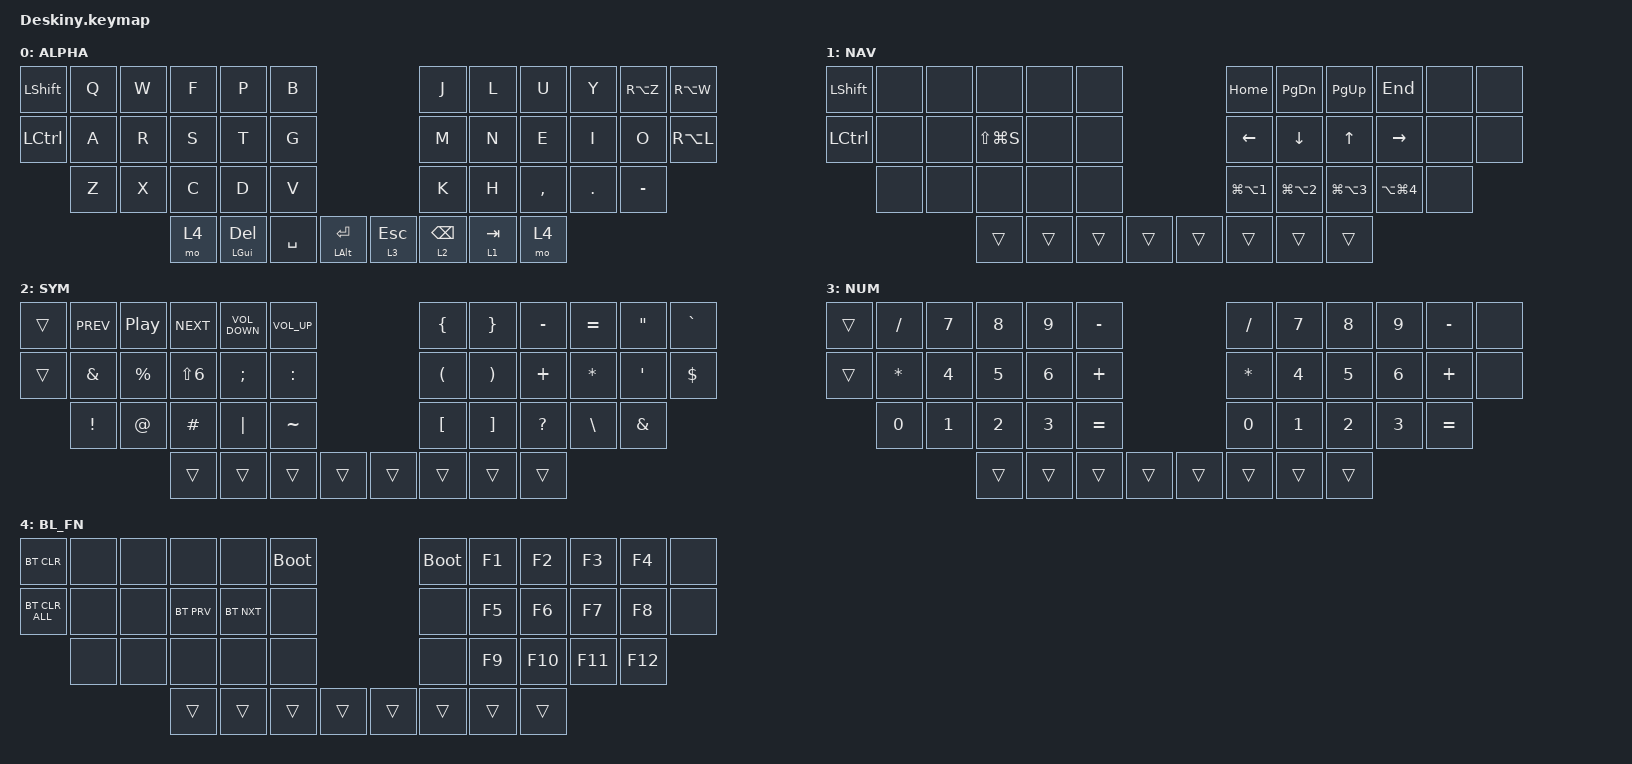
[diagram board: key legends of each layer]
#include <behaviors.dtsi>
#include <dt-bindings/zmk/bt.h>
#include <dt-bindings/zmk/keys.h>

/ {
    combos { compatible = "zmk,combos"; };

    keymap {
        compatible = "zmk,keymap";

        ALPHA {
            bindings = <
&kp LSHFT         &kp Q  &kp W  &kp F  &kp P                &kp B                                     &kp J            &kp L      &kp U      &kp Y    &kp RA(Z)  &kp RA(W)
&kp LEFT_CONTROL  &kp A  &kp R  &kp S  &kp T                &kp G                                     &kp M            &kp N      &kp E      &kp I    &kp O      &kp RA(L)
                  &kp Z  &kp X  &kp C  &kp D                &kp V                                     &kp K            &kp H      &kp COMMA  &kp DOT  &kp MINUS
                                &mo 4  &mt LEFT_GUI DELETE  &kp SPACE  &mt LEFT_ALT ENTER  &lt 3 ESC  &lt 2 BACKSPACE  &lt 1 TAB  &mo 4
            >;
        };

        NAV {
            bindings = <
&kp LSHFT  &none  &none  &none          &none   &none                   &kp HOME        &kp PAGE_DOWN         &kp PG_UP             &kp END               &none  &none
&kp LCTRL  &none  &none  &kp LS(LG(S))  &none   &none                   &kp LEFT        &kp DOWN              &kp UP                &kp RIGHT             &none  &none
           &none  &none  &none          &none   &none                   &kp LG(LA(N1))  &kp LG(LA(NUMBER_2))  &kp LG(LA(NUMBER_3))  &kp LA(LG(NUMBER_4))  &none
                         &trans         &trans  &trans  &trans  &trans  &trans          &trans                &trans
            >;
        };

        SYM {
            bindings = <
&trans  &kp C_PREV       &kp C_PLAY_PAUSE  &kp C_NEXT        &kp C_VOLUME_DOWN  &kp C_VOLUME_UP                  &kp LBRC  &kp RBRC  &kp MINUS     &kp EQUAL  &kp DOUBLE_QUOTES  &kp GRAVE
&trans  &kp AMPERSAND    &kp PERCENT       &kp LS(NUMBER_6)  &kp SEMICOLON      &kp COLON                        &kp LPAR  &kp RPAR  &kp PLUS      &kp STAR   &kp SQT            &kp DOLLAR
        &kp EXCLAMATION  &kp AT_SIGN       &kp HASH          &kp PIPE           &kp TILDE                        &kp LBKT  &kp RBKT  &kp QUESTION  &kp BSLH   &kp AMPERSAND
                                           &trans            &trans             &trans           &trans  &trans  &trans    &trans    &trans
            >;
        };

        NUM {
            bindings = <
&trans  &kp FSLH  &kp N7  &kp N8  &kp N9  &kp MINUS                  &kp FSLH  &kp N7  &kp N8  &kp N9  &kp MINUS  &none
&trans  &kp STAR  &kp N4  &kp N5  &kp N6  &kp PLUS                   &kp STAR  &kp N4  &kp N5  &kp N6  &kp PLUS   &none
        &kp N0    &kp N1  &kp N2  &kp N3  &kp EQUAL                  &kp N0    &kp N1  &kp N2  &kp N3  &kp EQUAL
                          &trans  &trans  &trans     &trans  &trans  &trans    &trans  &trans
            >;
        };

        BL_FN {
            bindings = <
&bt BT_CLR      &none  &none  &none       &none       &bootloader                  &bootloader  &kp F1  &kp F2   &kp F3   &kp F4   &none
&bt BT_CLR_ALL  &none  &none  &bt BT_PRV  &bt BT_NXT  &none                        &none        &kp F5  &kp F6   &kp F7   &kp F8   &none
                &none  &none  &none       &none       &none                        &none        &kp F9  &kp F10  &kp F11  &kp F12
                              &trans      &trans      &trans       &trans  &trans  &trans       &trans  &trans
            >;
        };
    };
};
